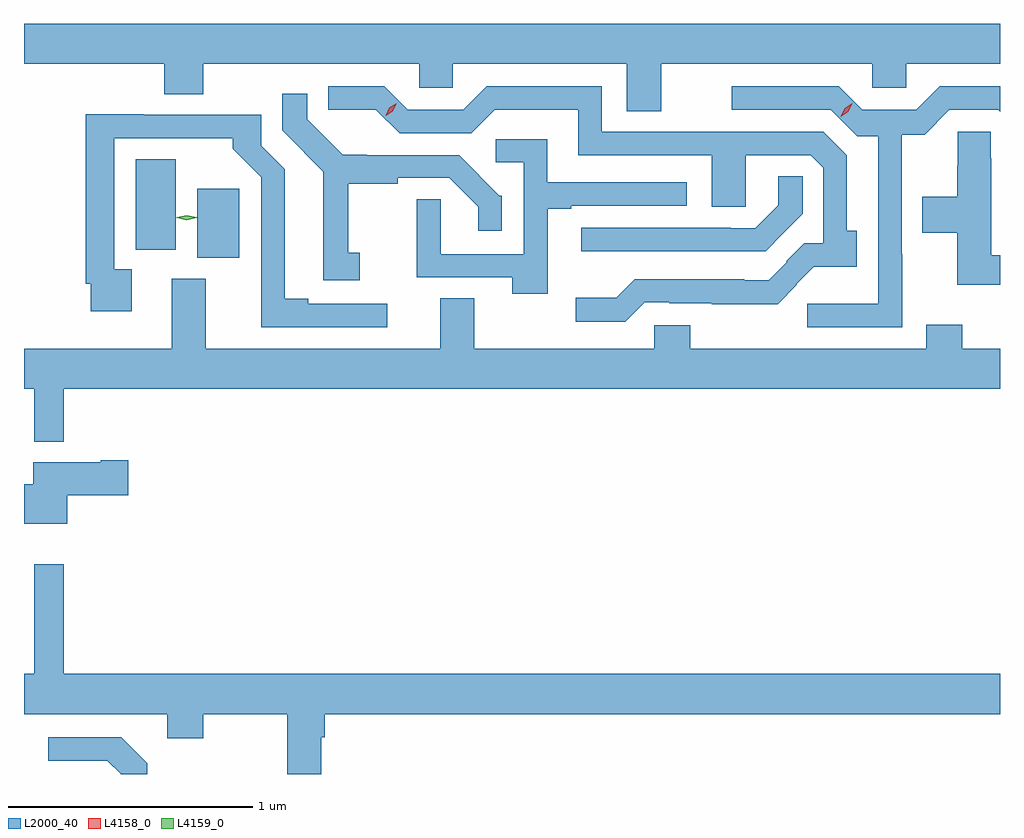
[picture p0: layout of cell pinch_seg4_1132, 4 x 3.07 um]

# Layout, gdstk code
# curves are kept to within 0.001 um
import gdstk
lib = gdstk.Library(unit=1e-6, precision=1e-09)
def R(c, l, rs):  # rectangles x0, y0, x1, y1
    for r in rs: c.add(gdstk.rectangle(r[:2], r[2:], *l))
def P(c, l, *ps):  # polygons
    for p in ps: c.add(gdstk.Polygon(p, *l))
L2000_40 = (2000, 40)
L4158_0 = (4158, 0)
L4159_0 = (4159, 0)

pinch_seg4_1132 = lib.new_cell('pinch_seg4_1132')
R(pinch_seg4_1132, L2000_40, [(470.378,782.705,470.551,782.989), (470.126,782.739,470.29,783.11)])
P(pinch_seg4_1132, L2000_40, [(472.279,783.5),(473.145,783.5),(473.145,783.402),(473.283,783.402),(473.283,783.5),(473.668,783.5),(473.668,783.664),(469.668,783.664),(469.668,783.5),(470.243,783.5),(470.243,783.376),(470.403,783.376),(470.403,783.5),(471.288,783.5),(471.288,783.402),(471.426,783.402),(471.426,783.5),(472.139,783.5),(472.139,783.307),(472.279,783.307)],
  [(473.268,782.72),(473.265,782.72),(473.265,783.211),(473.359,783.211),(473.46,783.312),(473.661,783.312),(473.668,783.305),(473.668,783.408),(473.421,783.408),(473.325,783.312),(473.103,783.312),(473.007,783.408),(472.569,783.408),(472.569,783.312),(472.974,783.312),(473.083,783.204),(473.169,783.204),(473.169,782.517),(472.878,782.517),(472.878,782.421),(473.268,782.421)],
  [(472.212,782.523),(472.312,782.523),(472.312,782.52),(472.486,782.52),(472.486,782.516),(472.757,782.516),(472.836,782.595),(472.833,782.598),(472.905,782.67),(473.08,782.67),(473.08,782.817),(473.04,782.817),(473.04,783.126),(472.944,783.222),(472.035,783.222),(472.035,783.408),(471.564,783.408),(471.468,783.312),(471.24,783.312),(471.144,783.408),(470.914,783.408),(470.914,783.313),(471.11,783.313),(471.207,783.216),(471.501,783.216),(471.597,783.312),(471.939,783.312),(471.939,783.126),(472.487,783.126),(472.487,782.914),(472.627,782.914),(472.627,783.126),(472.893,783.126),(472.944,783.075),(472.944,782.766),(472.866,782.766),(472.791,782.691),(472.794,782.688),(472.72,782.614),(472.619,782.614),(472.619,782.617),(472.171,782.617),(472.096,782.542),(471.93,782.542),(471.93,782.444),(472.133,782.444)],
  [(471.043,782.726),(470.996,782.726),(470.996,783.01),(471.2,783.01),(471.2,783.033),(471.411,783.033),(471.53,782.914),(471.53,782.817),(471.627,782.817),(471.627,782.961),(471.616,782.961),(471.451,783.126),(471.073,783.126),(471.073,783.128),(470.974,783.128),(470.829,783.273),(470.829,783.379),(470.727,783.379),(470.727,783.229),(470.894,783.058),(470.894,782.613),(471.043,782.613)],
  [(471.157,782.517),(470.833,782.517),(470.833,782.537),(470.737,782.537),(470.736,783.069),(470.64,783.165),(470.64,783.291),(470.159,783.291),(470.159,783.293),(469.921,783.293),(469.921,782.599),(469.941,782.599),(469.941,782.487),(470.11,782.487),(470.11,782.659),(470.037,782.659),(470.037,783.195),(470.524,783.195),(470.524,783.152),(470.64,783.036),(470.64,782.421),(471.157,782.421)],
  [(473.668,782.717),(473.632,782.717),(473.632,783.113),(473.63,783.113),(473.63,783.222),(473.494,783.222),(473.494,783.083),(473.492,783.083),(473.492,782.956),(473.35,782.956),(473.35,782.809),(473.492,782.809),(473.492,782.596),(473.668,782.596)],
  [(471.814,782.907),(471.91,782.907),(471.91,782.919),(472.384,782.919),(472.384,783.015),(471.813,783.015),(471.813,783.191),(471.602,783.191),(471.602,783.097),(471.717,783.097),(471.717,782.721),(471.376,782.721),(471.376,782.945),(471.277,782.945),(471.277,782.625),(471.668,782.625),(471.668,782.559),(471.814,782.559)],
  [(472.78,782.807),(472.859,782.887),(472.859,783.04),(472.76,783.04),(472.76,782.921),(472.665,782.826),(472.565,782.826),(472.565,782.829),(471.951,782.829),(471.951,782.733),(472.707,782.733)],
  [(473.668,782.332),(473.514,782.332),(473.514,782.431),(473.366,782.431),(473.366,782.332),(472.398,782.332),(472.398,782.43),(472.251,782.43),(472.251,782.332),(471.514,782.332),(471.514,782.54),(471.374,782.54),(471.374,782.332),(470.413,782.332),(470.413,782.62),(470.273,782.62),(470.273,782.332),(469.668,782.332),(469.668,782.168),(469.709,782.168),(469.709,781.952),(469.831,781.952),(469.831,782.168),(473.668,782.168)],
  [(469.846,781.733),(470.095,781.733),(470.095,781.875),(469.982,781.875),(469.982,781.867),(469.706,781.867),(469.706,781.777),(469.668,781.777),(469.668,781.616),(469.846,781.616)],
  [(470.887,780.74),(470.9,780.74),(470.9,780.836),(473.668,780.836),(473.668,781),(469.831,781),(469.831,781.45),(469.709,781.45),(469.709,781),(469.668,781),(469.668,780.836),(470.255,780.836),(470.255,780.737),(470.403,780.737),(470.403,780.836),(470.747,780.836),(470.747,780.59),(470.887,780.59)],
  [(470.173,780.635),(470.067,780.741),(469.767,780.741),(469.767,780.645),(470.01,780.645),(470.064,780.591),(470.064,780.59),(470.173,780.59)])
P(pinch_seg4_1132, L4158_0, [(473.016,783.284),(473.016,783.284),(473.031,783.318),(473.062,783.339),(473.062,783.339),(473.062,783.339),(473.047,783.305),(473.016,783.284)],
  [(471.15,783.288),(471.15,783.288),(471.165,783.32),(471.195,783.34),(471.195,783.34),(471.195,783.34),(471.18,783.307),(471.151,783.288)])
P(pinch_seg4_1132, L4159_0, [(470.334,782.86),(470.293,782.87),(470.293,782.87),(470.293,782.871),(470.334,782.88),(470.375,782.871),(470.375,782.87),(470.375,782.87)])

lib.write_gds('pinch_seg4_1132.gds')
